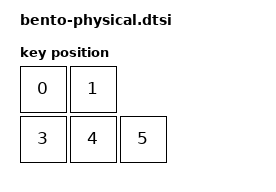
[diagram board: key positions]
#include <physical_layouts.dtsi>

/ {
    layouts_bento_position_map: layouts_bento_position_map {
        compatible = "zmk,physical-layout-position-map";

        complete;
    };
};


/ {
    macro3x2_layount: macro3x2_layount {
        compatible = "zmk,physical-layout";
        display-name = "6 Key";

        keys  //                     w   h    x    y     rot    rx    ry
            = <&key_physical_attrs 100 100    0    0       0     0     0>
            , <&key_physical_attrs 100 100  100    0       0     0     0>
            , <&key_physical_attrs 100 100  200  100       0     0     0>
            , <&key_physical_attrs 100 100    0  100       0     0     0>
            , <&key_physical_attrs 100 100  100  100       0     0     0>
            , <&key_physical_attrs 100 100  200  100       0     0     0>
        ;
    };
};

&layouts_bento_position_map {
    bento_posmap: six {
        physical-layout = <&macro3x2_layount>;
        positions
            = < 0  1  2 >
            , < 3  4  5>;
    };
};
